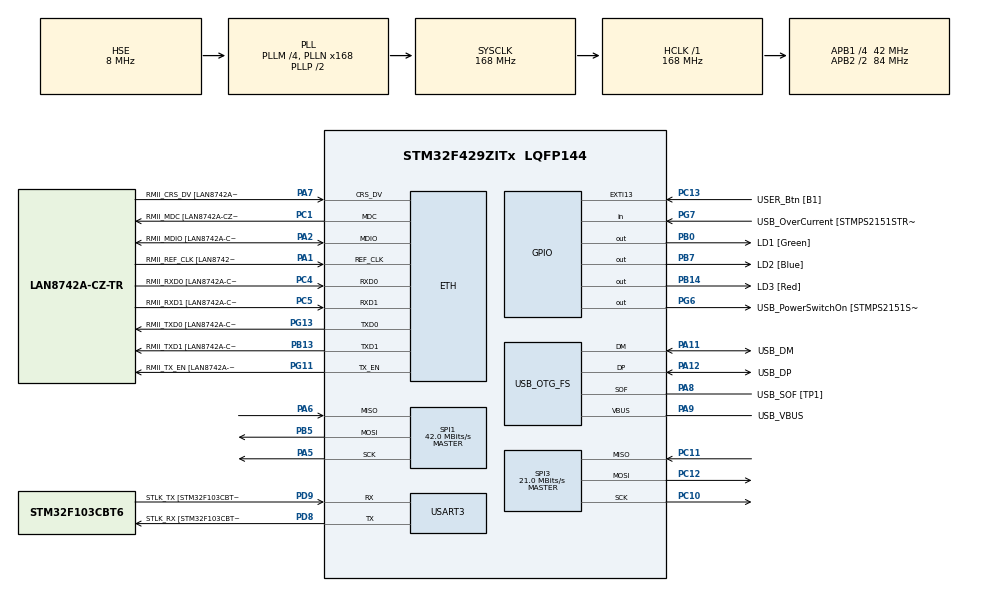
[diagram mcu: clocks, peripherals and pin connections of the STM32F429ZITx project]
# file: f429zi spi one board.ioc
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ETH.MediaInterface=HAL_ETH_RMII_MODE
ETH.PHY_Name=LAN8742A_PHY_ADDRESS
ETH.PHY_Value=0
ETH.PhyAddress=0
Mcu.Family=STM32F4
Mcu.Name=STM32F429ZITx
Mcu.Package=LQFP144
NVIC.PriorityGroup=NVIC_PRIORITYGROUP_4
NVIC.SPI1_IRQn=true\:0\:0\:false\:false\:true\:true\:true\:true
PA1.GPIO_Label=RMII_REF_CLK [LAN8742A-CZ-TR_REFCLK0]
PA1.Mode=RMII
PA1.Signal=ETH_REF_CLK
PA10.GPIO_Label=USB_ID
PA10.Signal=USB_OTG_FS_ID
PA11.GPIO_Label=USB_DM
PA11.Mode=Device_Only
PA11.Signal=USB_OTG_FS_DM
PA12.GPIO_Label=USB_DP
PA12.Mode=Device_Only
PA12.Signal=USB_OTG_FS_DP
PA13.GPIO_Label=TMS
PA13.Mode=Trace_Asynchronous_SW
PA13.Signal=SYS_JTMS-SWDIO
PA14.GPIO_Label=TCK
PA14.Mode=Trace_Asynchronous_SW
PA14.Signal=SYS_JTCK-SWCLK
PA2.GPIO_Label=RMII_MDIO [LAN8742A-CZ-TR_MDIO]
PA2.Mode=RMII
PA2.Signal=ETH_MDIO
PA5.Mode=Full_Duplex_Master
PA5.Signal=SPI1_SCK
PA6.Mode=Full_Duplex_Master
PA6.Signal=SPI1_MISO
PA7.GPIO_Label=RMII_CRS_DV [LAN8742A-CZ-TR_CRS_DV]
PA7.Mode=RMII
PA7.Signal=ETH_CRS_DV
PA8.GPIO_Label=USB_SOF [TP1]
PA8.Mode=Activate_SOF_FS
PA8.Signal=USB_OTG_FS_SOF
PA9.GPIO_Label=USB_VBUS
PA9.Mode=Activate_VBUS
PA9.Signal=USB_OTG_FS_VBUS
PB0.GPIO_Label=LD1 [Green]
PB0.Signal=GPIO_Output
PB13.GPIO_Label=RMII_TXD1 [LAN8742A-CZ-TR_TXD1]
PB13.Mode=RMII
PB13.Signal=ETH_TXD1
PB14.GPIO_Label=LD3 [Red]
PB14.Signal=GPIO_Output
PB3.Mode=Trace_Asynchronous_SW
PB3.Signal=SYS_JTDO-SWO
PB5.Mode=Full_Duplex_Master
PB5.Signal=SPI1_MOSI
PB7.GPIO_Label=LD2 [Blue]
PB7.Signal=GPIO_Output
PC1.GPIO_Label=RMII_MDC [LAN8742A-CZ-TR_MDC]
PC1.Mode=RMII
PC1.Signal=ETH_MDC
PC10.Mode=Full_Duplex_Master
PC10.Signal=SPI3_SCK
PC11.Mode=Full_Duplex_Master
PC11.Signal=SPI3_MISO
PC12.Mode=Full_Duplex_Master
PC12.Signal=SPI3_MOSI
PC13.GPIO_Label=USER_Btn [B1]
PC13.Signal=GPXTI13
PC14/OSC32_IN.Mode=LSE-External-Oscillator
PC14/OSC32_IN.Signal=RCC_OSC32_IN
PC15/OSC32_OUT.Mode=LSE-External-Oscillator
PC15/OSC32_OUT.Signal=RCC_OSC32_OUT
PC4.GPIO_Label=RMII_RXD0 [LAN8742A-CZ-TR_RXD0]
PC4.Mode=RMII
PC4.Signal=ETH_RXD0
PC5.GPIO_Label=RMII_RXD1 [LAN8742A-CZ-TR_RXD1]
PC5.Mode=RMII
PC5.Signal=ETH_RXD1
PD8.GPIO_Label=STLK_RX [STM32F103CBT6_PA3]
PD8.Mode=Asynchronous
PD8.Signal=USART3_TX
PD9.GPIO_Label=STLK_TX [STM32F103CBT6_PA2]
PD9.Mode=Asynchronous
PD9.Signal=USART3_RX
PG11.GPIO_Label=RMII_TX_EN [LAN8742A-CZ-TR_TXEN]
PG11.Mode=RMII
PG11.Signal=ETH_TX_EN
PG13.GPIO_Label=RMII_TXD0 [LAN8742A-CZ-TR_TXD0]
PG13.Mode=RMII
PG13.Signal=ETH_TXD0
PG6.GPIO_Label=USB_PowerSwitchOn [STMPS2151STR_EN]
PG6.Signal=GPIO_Output
PG7.GPIO_Label=USB_OverCurrent [STMPS2151STR_FAULT]
PG7.Signal=GPIO_Input
PH0/OSC_IN.GPIO_Label=MCO [STM32F103CBT6_PA8]
PH0/OSC_IN.Mode=HSE-External-Clock-Source
PH0/OSC_IN.Signal=RCC_OSC_IN
PH1/OSC_OUT.Mode=HSE-External-Clock-Source
PH1/OSC_OUT.Signal=RCC_OSC_OUT
ProjectManager.HeapSize=0x200
ProjectManager.StackSize=0x400
ProjectManager.TargetToolchain=STM32CubeIDE
RCC.48MHZClocksFreq_Value=48000000
RCC.AHBFreq_Value=168000000
RCC.APB1CLKDivider=RCC_HCLK_DIV4
RCC.APB1Freq_Value=42000000
RCC.APB1TimFreq_Value=84000000
RCC.APB2CLKDivider=RCC_HCLK_DIV2
RCC.APB2Freq_Value=84000000
RCC.APB2TimCLKDivider=2
RCC.APB2TimFreq_Value=168000000
RCC.CortexFreq_Value=168000000
RCC.HCLKFreq_Value=168000000
RCC.HSE_VALUE=8000000
RCC.HSI_VALUE=16000000
RCC.PLLM=4
RCC.PLLMUL=RCC_PLL_MUL9
RCC.PLLN=168
RCC.PLLQ=7
RCC.PRESCALERUSB=RCC_USBCLKSOURCE_PLL_DIV1_5
RCC.SYSCLKFreq_VALUE=168000000
RCC.SYSCLKSource=RCC_SYSCLKSOURCE_PLLCLK
RCC.SYSCLKSourceVirtual=RCC_SYSCLKSOURCE_PLLCLK
RCC.USBFreq_Value=48000000
RCC.VCOOutputFreq_Value=336000000
SPI1.CalculateBaudRate=42.0 MBits/s
SPI1.Direction=SPI_DIRECTION_2LINES
SPI1.Mode=SPI_MODE_MASTER
SPI1.VirtualType=VM_MASTER
SPI3.CalculateBaudRate=21.0 MBits/s
SPI3.Direction=SPI_DIRECTION_2LINES
SPI3.Mode=SPI_MODE_MASTER
SPI3.VirtualType=VM_MASTER
USART3.VirtualMode=VM_ASYNC
USB_OTG_FS.VirtualMode=Device_Only
board=NUCLEO-F429ZI

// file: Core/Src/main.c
/* USER CODE BEGIN Header */
/**
  ******************************************************************************
  * @file           : main.c
  * @brief          : Main program body
  ******************************************************************************
  * @attention
  *
  * Copyright (c) 2023 STMicroelectronics.
  * All rights reserved.
  *
  * This software is licensed under terms that can be found in the LICENSE file
  * in the root directory of this software component.
  * If no LICENSE file comes with this software, it is provided AS-IS.
  *
  ******************************************************************************
  */
/* USER CODE END Header */
#include "main.h"
#include "string.h"
#include <stdio.h>
#include <string.h>

ETH_TxPacketConfig TxConfig;
ETH_DMADescTypeDef  DMARxDscrTab[ETH_RX_DESC_CNT]; /* Ethernet Rx DMA Descriptors */
ETH_DMADescTypeDef  DMATxDscrTab[ETH_TX_DESC_CNT]; /* Ethernet Tx DMA Descriptors */

 ETH_HandleTypeDef heth;

SPI_HandleTypeDef hspi1;
SPI_HandleTypeDef hspi3;

UART_HandleTypeDef huart3;

PCD_HandleTypeDef hpcd_USB_OTG_FS;

/* USER CODE BEGIN PV */
/* bit flag */
uint16_t bitFlag;
volatile uint8_t spi1F, spi3F;

/* Buffer used for transmission */
uint8_t aTxBuffer1[] = "MSTER SEND"; //{10,11,12,13,14,15,16,17,18,19};
uint8_t aTxBuffer3[] = "SLAVE SEND"; //{10,11,12,13,14,15,16,17,18,19};

/* Buffer used for reception */
uint8_t aRxBuffer1[BUFFERSIZE];
uint8_t aRxBuffer3[BUFFERSIZE];
/* USER CODE END PV */

void SystemClock_Config(void);
static void MX_GPIO_Init(void);
static void MX_SPI1_Init(void);
static void MX_SPI3_Init(void);
static void MX_USART3_UART_Init(void);
/* USER CODE BEGIN PFP */
#ifdef __GNUC__
  /* With GCC, small printf (option LD Linker->Libraries->Small printf
     set to 'Yes') calls __io_putchar() */
  #define PUTCHAR_PROTOTYPE int __io_putchar(int ch)
#else
  #define PUTCHAR_PROTOTYPE int fputc(int ch, FILE *f)
#endif

/* USER CODE END PFP */

/* USER CODE BEGIN 0 */
/*******************************************************************
  * @brief  Retargets the C library printf function to the USART.
  * @param  None
  * @retval None
  ******************************************************************/
PUTCHAR_PROTOTYPE
{
  HAL_UART_Transmit(&huart3, (uint8_t *)&ch, 1, 0xFFFF);
  return ch;
}
/* USER CODE END 0 */

int main(void)
{

  /* MCU Configuration--------------------------------------------------------*/

  /* Reset of all peripherals, Initializes the Flash interface and the Systick. */
  HAL_Init();

  /* Configure the system clock */
  SystemClock_Config();

  /* Initialize all configured peripherals */
  MX_GPIO_Init();
  MX_SPI1_Init();
  MX_SPI3_Init();
  MX_USART3_UART_Init();

  /* USER CODE BEGIN 2 */
  printf("\r\n==== F429ZI init OK ====\r\n");

  while ((bitFlag & BFLAG_BTN) == 0){
	  HAL_Delay(500);
	  HAL_GPIO_TogglePin(GPIOB, LD2_Pin);
  }
  HAL_GPIO_WritePin(GPIOB, LD2_Pin, GPIO_PIN_RESET);
  /* USER CODE END 2 */

  /* Infinite loop */
  while (1)
  {
	 if (bitFlag & BFLAG_BTN)
	 {
		 printf("BTN pressed\r\n");

		 while(HAL_SPI_GetState(&hspi1) != HAL_SPI_STATE_READY){}
		 while(HAL_SPI_GetState(&hspi3) != HAL_SPI_STATE_READY){}

		 /******************* Transmit *****************************/
		 printf("SPI3 Master Send\r\n");
		 spi1F = 0;
		 spi3F = 0;

		 if(HAL_SPI_Transmit_IT(&hspi3, (uint8_t *)aTxBuffer1, 10) != HAL_OK)
		 {
			  /* Transfer error in transmission process */
			  Error_Handler();
		 }

		 while (spi3F==0){}
		 while(HAL_SPI_GetState(&hspi3) != HAL_SPI_STATE_READY){}

		 /******************* Receive *****************************/
		 printf("SPI3 Master Receiving\r\n");
		 memset(aRxBuffer1, 0, sizeof(aRxBuffer1));
		 HAL_Delay(100);

		 spi1F = 0;
		 spi3F = 0;

		 if(HAL_SPI_Receive_IT(&hspi3, (uint8_t*)aRxBuffer1, 10) != HAL_OK)
		 {
			 /* Transfer error in transmission process */
			 Error_Handler();
		 }

		 while (spi3F==0){}
		 while(HAL_SPI_GetState(&hspi3) != HAL_SPI_STATE_READY){}

		 printf("MASTER RX: %s\r\n\n", aRxBuffer1);

		 /* debounce */
		 HAL_Delay(500);

		 bitFlag &= ~BFLAG_BTN;
	 }
	 else if (bitFlag & BFLAG_SPIM_WR)
	 {
		 bitFlag &= ~BFLAG_SPIM_WR;
	 }
	 else if (bitFlag & BFLAG_SPIS_WR)
	 {
		 //printf("SLAVE RX: %s\r\n", aRxBuffer3);

//		 for(uint8_t idx = 0; idx < BUFFERSIZE; idx++)
//		 {
//			 printf("%d, ", aRxBuffer3[idx]);
//		 }

		 printf("\r\n\n");
		 bitFlag &= ~BFLAG_SPIS_WR;
	 }
	 else
	 {
		 HAL_Delay(100);
		 HAL_GPIO_TogglePin(GPIOB, LD1_Pin);
		 //printf("wait cmd btn\r\n");
	 }

  }
}

void SystemClock_Config(void)
{
  RCC_OscInitTypeDef RCC_OscInitStruct = {0};
  RCC_ClkInitTypeDef RCC_ClkInitStruct = {0};

  /** Configure the main internal regulator output voltage
  */
  __HAL_RCC_PWR_CLK_ENABLE();
  __HAL_PWR_VOLTAGESCALING_CONFIG(PWR_REGULATOR_VOLTAGE_SCALE1);

  /** Initializes the RCC Oscillators according to the specified parameters
  * in the RCC_OscInitTypeDef structure.
  */
  RCC_OscInitStruct.OscillatorType = RCC_OSCILLATORTYPE_HSE;
  RCC_OscInitStruct.HSEState = RCC_HSE_BYPASS;
  RCC_OscInitStruct.PLL.PLLState = RCC_PLL_ON;
  RCC_OscInitStruct.PLL.PLLSource = RCC_PLLSOURCE_HSE;
  RCC_OscInitStruct.PLL.PLLM = 4;
  RCC_OscInitStruct.PLL.PLLN = 168;
  RCC_OscInitStruct.PLL.PLLP = RCC_PLLP_DIV2;
  RCC_OscInitStruct.PLL.PLLQ = 7;
  if (HAL_RCC_OscConfig(&RCC_OscInitStruct) != HAL_OK)
  {
    Error_Handler();
  }

  /** Initializes the CPU, AHB and APB buses clocks
  */
  RCC_ClkInitStruct.ClockType = RCC_CLOCKTYPE_HCLK|RCC_CLOCKTYPE_SYSCLK
                              |RCC_CLOCKTYPE_PCLK1|RCC_CLOCKTYPE_PCLK2;
  RCC_ClkInitStruct.SYSCLKSource = RCC_SYSCLKSOURCE_PLLCLK;
  RCC_ClkInitStruct.AHBCLKDivider = RCC_SYSCLK_DIV1;
  RCC_ClkInitStruct.APB1CLKDivider = RCC_HCLK_DIV4;
  RCC_ClkInitStruct.APB2CLKDivider = RCC_HCLK_DIV2;

  if (HAL_RCC_ClockConfig(&RCC_ClkInitStruct, FLASH_LATENCY_5) != HAL_OK)
  {
    Error_Handler();
  }
}

static void MX_SPI1_Init(void)
{

  /* SPI1 parameter configuration*/
  hspi1.Instance = SPI1;
  hspi1.Init.Mode = SPI_MODE_MASTER;
  hspi1.Init.Direction = SPI_DIRECTION_2LINES;
  hspi1.Init.DataSize = SPI_DATASIZE_8BIT;
  hspi1.Init.CLKPolarity = SPI_POLARITY_LOW;
  hspi1.Init.CLKPhase = SPI_PHASE_1EDGE;
  hspi1.Init.NSS = SPI_NSS_SOFT;
  hspi1.Init.BaudRatePrescaler = SPI_BAUDRATEPRESCALER_256;
  hspi1.Init.FirstBit = SPI_FIRSTBIT_MSB;
  hspi1.Init.TIMode = SPI_TIMODE_DISABLE;
  hspi1.Init.CRCCalculation = SPI_CRCCALCULATION_DISABLE;
  hspi1.Init.CRCPolynomial = 10;
  if (HAL_SPI_Init(&hspi1) != HAL_OK)
  {
    Error_Handler();
  }

}

static void MX_SPI3_Init(void)
{

  /* SPI3 parameter configuration*/
  hspi3.Instance 			= SPI3;
  hspi3.Init.Mode 			= SPI_MODE_MASTER;
  hspi3.Init.Direction 		= SPI_DIRECTION_2LINES;
  hspi3.Init.DataSize 		= SPI_DATASIZE_8BIT;
  hspi3.Init.CLKPolarity 	= SPI_POLARITY_LOW;
  hspi3.Init.CLKPhase 		= SPI_PHASE_1EDGE;
  hspi3.Init.NSS 			= SPI_NSS_SOFT;
  hspi3.Init.BaudRatePrescaler = SPI_BAUDRATEPRESCALER_128;
  hspi3.Init.FirstBit 		= SPI_FIRSTBIT_MSB;
  hspi3.Init.TIMode 		= SPI_TIMODE_DISABLE;
  hspi3.Init.CRCCalculation = SPI_CRCCALCULATION_DISABLE;
  hspi3.Init.CRCPolynomial 	= 10;
  if (HAL_SPI_Init(&hspi3) != HAL_OK)
  {
    Error_Handler();
  }

}

static void MX_USART3_UART_Init(void)
{

  huart3.Instance = USART3;
  huart3.Init.BaudRate = 115200;
  huart3.Init.WordLength = UART_WORDLENGTH_8B;
  huart3.Init.StopBits = UART_STOPBITS_1;
  huart3.Init.Parity = UART_PARITY_NONE;
  huart3.Init.Mode = UART_MODE_TX_RX;
  huart3.Init.HwFlowCtl = UART_HWCONTROL_NONE;
  huart3.Init.OverSampling = UART_OVERSAMPLING_16;
  if (HAL_UART_Init(&huart3) != HAL_OK)
  {
    Error_Handler();
  }

}

static void MX_GPIO_Init(void)
{
  GPIO_InitTypeDef GPIO_InitStruct = {0};

  /* GPIO Ports Clock Enable */
  __HAL_RCC_GPIOC_CLK_ENABLE();
  __HAL_RCC_GPIOH_CLK_ENABLE();
  __HAL_RCC_GPIOA_CLK_ENABLE();
  __HAL_RCC_GPIOB_CLK_ENABLE();
  __HAL_RCC_GPIOD_CLK_ENABLE();
  __HAL_RCC_GPIOG_CLK_ENABLE();

  /*Configure GPIO pin Output Level */
  HAL_GPIO_WritePin(GPIOB, LD1_Pin|LD3_Pin|LD2_Pin, GPIO_PIN_RESET);

  /*Configure GPIO pin Output Level */
  HAL_GPIO_WritePin(USB_PowerSwitchOn_GPIO_Port, USB_PowerSwitchOn_Pin, GPIO_PIN_RESET);

  /*Configure GPIO pin : USER_Btn_Pin */
  GPIO_InitStruct.Pin = USER_Btn_Pin;
  GPIO_InitStruct.Mode = GPIO_MODE_IT_RISING;
  GPIO_InitStruct.Pull = GPIO_NOPULL;
  HAL_GPIO_Init(USER_Btn_GPIO_Port, &GPIO_InitStruct);

  /* Enable and set EXTI lines 15 to 10 Interrupt */
  HAL_NVIC_SetPriority(EXTI15_10_IRQn, 1, 0);
  HAL_NVIC_EnableIRQ(EXTI15_10_IRQn);

  /*Configure GPIO pins : LD1_Pin LD3_Pin LD2_Pin */
  GPIO_InitStruct.Pin = LD1_Pin|LD3_Pin|LD2_Pin;
  GPIO_InitStruct.Mode = GPIO_MODE_OUTPUT_PP;
  GPIO_InitStruct.Pull = GPIO_NOPULL;
  GPIO_InitStruct.Speed = GPIO_SPEED_FREQ_LOW;
  HAL_GPIO_Init(GPIOB, &GPIO_InitStruct);

}

/* USER CODE BEGIN 4 */
/************************************************************
  * @brief Button Callback
  * @param GPIO_Pin: Specifies the pins connected EXTI line
  * @retval None
  ***********************************************************/
void HAL_GPIO_EXTI_Callback(uint16_t GPIO_Pin)
{
  if (((GPIO_Pin == USER_Btn_Pin) && ((bitFlag & BFLAG_BTN) == 0)))
  {
	  bitFlag |= BFLAG_BTN;
  }

}

/**
  * @brief  TxRx Transfer completed callback.
  * @param  hspi: SPI handle
  * @note   This example shows a simple way to report end of Interrupt TxRx transfer, and
  *         you can add your own implementation.
  * @retval None
  */
void HAL_SPI_TxRxCpltCallback(SPI_HandleTypeDef *hspi)
{
	if (hspi->Instance==SPI1)
	{
		//bitFlag |= BFLAG_SPIM_WR;
		//printf("SPIM CB\r\n");
	}
	else if (hspi->Instance==SPI3)
	{
		//bitFlag |= BFLAG_SPIS_WR;
		//printf("SPIS CB\r\n");
	}

}

void HAL_SPI_TxCpltCallback(SPI_HandleTypeDef *hspi)
{
	if (hspi->Instance==SPI1)
	{
		//bitFlag |= BFLAG_SPIM_WR;
		spi1F = 1;
		//printf("SPIM TX CB\r\n");
	}
	else if (hspi->Instance==SPI3)
	{
		spi3F = 1;
		printf("SPI3 TX CB\r\n");
	}
}

void HAL_SPI_RxCpltCallback(SPI_HandleTypeDef *hspi)
{
	if (hspi->Instance==SPI1)
	{
		//bitFlag |= BFLAG_SPIS_WR;
		spi1F = 1;
		//printf("SPIS RX CB\r\n");
	}
	else if (hspi->Instance==SPI3)
	{
		spi3F = 1;
		printf("SPI3 RX CB\r\n");
	}
}

/**
  * @brief  SPI error callbacks.
  * @param  hspi: SPI handle
  * @note   This example shows a simple way to report transfer error, and you can
  *         add your own implementation.
  * @retval None
  */
void HAL_SPI_ErrorCallback(SPI_HandleTypeDef *hspi)
{

}

/* USER CODE END 4 */

void Error_Handler(void)
{
  /* USER CODE BEGIN Error_Handler_Debug */
	printf("error handler\r\n");
  /* User can add his own implementation to report the HAL error return state */
  __disable_irq();
  while (1)
  {
  }
  /* USER CODE END Error_Handler_Debug */
}
